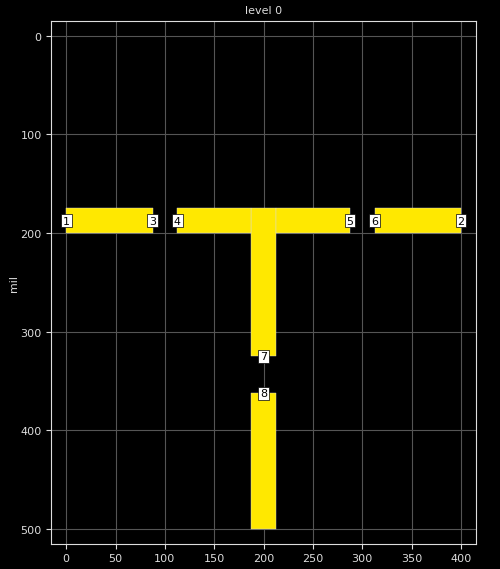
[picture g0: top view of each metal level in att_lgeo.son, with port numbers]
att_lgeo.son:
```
FTYP SONPROJ 4 ! Sonnet Project File
VER 12.56
HEADER
LIC sonnetexample.0000
DAT 02/24/2009 09:34:01
BUILT_BY_CREATED example "12.56" 11/23/2009 22:31:05
BUILT_BY_SAVED example "12.56"
MDATE 02/24/2009 09:34:01
HDATE 02/24/2009 09:34:01
END HEADER
DIM
FREQ MHZ
IND NH
LNG MIL
ANG DEG
CON /OH
CAP PF
RES OH
END DIM
FREQ
SIMPLE 200.0 400.0 100.0
END FREQ
CONTROL
SIMPLE
OPTIONS  -d 
SPEED 0
CACHE_ABS 1
TARG_ABS 300
Q_ACC N
END CONTROL
GEO
TMET "Lossless" 0 SUP 0 0 0 0
BMET "Lossless" 0 SUP 0 0 0 0
BOX 1 400 500 64 80 20 0
      250 1 1 0 0 0 1 "Air"
      25 9.8 1 0 0 0 1 "Alumina"
POR1 AGND
POLY 8 1
0
8 50 0 0 0 200 362.5 NONE 
POR1 AGND
POLY 11 1
2
7 50 0 0 0 200 325 NONE 
POR1 AGND
POLY 14 1
1
5 50 0 0 0 287.5 187.5 NONE 
POR1 AGND
POLY 17 1
3
4 50 0 0 0 112.5 187.5 NONE 
POR1 STD
POLY 20 1
3
1 50 0 0 0 0 187.5 
POR1 AGND
POLY 20 1
1
3 50 0 0 0 87.5 187.5 NONE 
POR1 STD
POLY 24 1
1
2 50 0 0 0 400 187.5 
POR1 AGND
POLY 24 1
3
6 50 0 0 0 312.5 187.5 NONE 
NUM 6
0 5 -1 N 8 1 1 100 100 0 0 0 Y
187.5 362.5
212.5 362.5
212.5 500
187.5 500
187.5 362.5
END
0 5 -1 N 11 1 1 100 100 0 0 0 Y
187.5 175
212.5 175
212.5 325
187.5 325
187.5 175
END
0 5 -1 N 14 1 1 100 100 0 0 0 Y
212.5 175
287.5 175
287.5 200
212.5 200
212.5 175
END
0 5 -1 N 17 1 1 100 100 0 0 0 Y
112.5 175
187.5 175
187.5 200
112.5 200
112.5 175
END
0 5 -1 N 20 1 1 100 100 0 0 0 Y
0 175
87.5 175
87.5 200
0 200
0 175
END
0 5 -1 N 24 1 1 100 100 0 0 0 Y
312.5 175
400 175
400 200
312.5 200
312.5 175
END
END GEO
OPT
MAX 100
VARS
END OPT
VARSWP
END VARSWP
```
